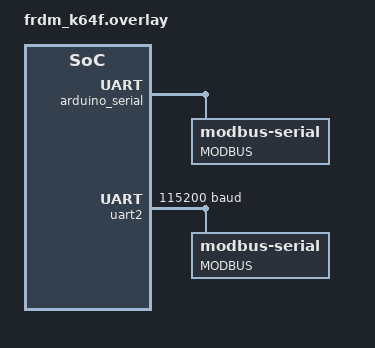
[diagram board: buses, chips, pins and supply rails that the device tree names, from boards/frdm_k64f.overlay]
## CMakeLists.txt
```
# Copyright (c) 2020 PHYTEC Messtechnik GmbH
# SPDX-License-Identifier: Apache-2.0

cmake_minimum_required(VERSION 3.13.1)

find_package(Zephyr REQUIRED HINTS $ENV{ZEPHYR_BASE})
project(test_modbus_rtu)

target_sources(app PRIVATE
    src/main.c
    src/test_modbus_client.c
    src/test_modbus_server.c
    )
```

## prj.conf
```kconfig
# Copyright (c) 2020 PHYTEC Messtechnik GmbH
# SPDX-License-Identifier: Apache-2.0

CONFIG_LOG=y
CONFIG_ZTEST=y
CONFIG_SERIAL=y
CONFIG_UART_INTERRUPT_DRIVEN=y
CONFIG_UART_LINE_CTRL=n

CONFIG_MODBUS_RTU=y
```

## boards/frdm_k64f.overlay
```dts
/*
 * Copyright (c) 2020 Phytec Messtechnik GmbH
 *
 * SPDX-License-Identifier: Apache-2.0
 */

&arduino_serial {
	status = "okay";

	modbus0 {
		compatible = "zephyr,modbus-serial";
		label = "MODBUS";
		status = "okay";
	};
};

&uart2 {
	status = "okay";
	current-speed = <115200>;

	modbus1 {
		compatible = "zephyr,modbus-serial";
		label = "MODBUS";
		status = "okay";
	};
};
```

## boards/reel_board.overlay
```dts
/*
 * Copyright (c) 2020 Phytec Messtechnik GmbH
 *
 * SPDX-License-Identifier: Apache-2.0
 */

&arduino_serial {
	status = "okay";

	modbus0 {
		compatible = "zephyr,modbus-serial";
		label = "MODBUS";
		status = "okay";
	};
};
```

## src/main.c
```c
/*
 * Copyright (c) 2020 PHYTEC Messtechnik GmbH
 *
 * SPDX-License-Identifier: Apache-2.0
 */

#include "test_modbus.h"

void test_main(void)
{
	ztest_test_suite(modbus_client_test,
			 ztest_unit_test(test_server_rtu_setup_low_none),
			 ztest_unit_test(test_client_rtu_setup_low_none),
			 ztest_unit_test(test_rtu_coil_wr_rd),
			 ztest_unit_test(test_rtu_di_rd),
			 ztest_unit_test(test_rtu_input_reg),
			 ztest_unit_test(test_rtu_holding_reg),
			 ztest_unit_test(test_rtu_diagnostic),
			 ztest_unit_test(test_client_rtu_disable),
			 ztest_unit_test(test_server_rtu_disable),
			 ztest_unit_test(test_server_rtu_setup_low_odd),
			 ztest_unit_test(test_client_rtu_setup_low_odd),
			 ztest_unit_test(test_rtu_coil_wr_rd),
			 ztest_unit_test(test_rtu_di_rd),
			 ztest_unit_test(test_rtu_input_reg),
			 ztest_unit_test(test_rtu_holding_reg),
			 ztest_unit_test(test_rtu_diagnostic),
			 ztest_unit_test(test_client_rtu_disable),
			 ztest_unit_test(test_server_rtu_disable),
			 ztest_unit_test(test_server_rtu_setup_high_even),
			 ztest_unit_test(test_client_rtu_setup_high_even),
			 ztest_unit_test(test_rtu_coil_wr_rd),
			 ztest_unit_test(test_rtu_di_rd),
			 ztest_unit_test(test_rtu_input_reg),
			 ztest_unit_test(test_rtu_holding_reg),
			 ztest_unit_test(test_rtu_diagnostic),
			 ztest_unit_test(test_client_rtu_disable),
			 ztest_unit_test(test_server_rtu_disable)
			 );
	ztest_run_test_suite(modbus_client_test);
}
```

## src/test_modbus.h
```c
/*
 * Copyright (c) 2020 PHYTEC Messtechnik GmbH
 *
 * SPDX-License-Identifier: Apache-2.0
 */

#ifndef __TEST_MODBUS_H__
#define __TEST_MODBUS_H__

#include <drivers/uart.h>
#include <ztest.h>
#include <modbus/modbus_rtu.h>

#define MB_TEST_BAUDRATE_LOW	9600
#define MB_TEST_BAUDRATE_HIGH	115200
#define MB_TEST_PARITY		UART_CFG_PARITY_NONE
#define MB_TEST_RESPONSE_TO	50000
#define MB_TEST_NODE_ADDR	0x01
#define MB_TEST_FP_OFFSET	5000

#if defined(CONFIG_BOARD_FRDM_K64F)
/*
 * UART1(PTB16)-RX <-> UART2(PTD3)-TX pins and
 * UART1(PTB17)-TX <-> UART2(PTD2)-RX pins have to be connected.
 */
#define MB_TEST_IFACE_CLIENT		0
#define MB_TEST_IFACE_SERVER		1
#else
#define MB_TEST_IFACE_CLIENT		0
#define MB_TEST_IFACE_SERVER		0
#endif

void test_server_rtu_setup_low_none(void);
void test_server_rtu_setup_low_odd(void);
void test_server_rtu_setup_high_even(void);
void test_server_rtu_setup_ascii(void);
void test_server_rtu_disable(void);

void test_client_rtu_setup_low_none(void);
void test_client_rtu_setup_low_odd(void);
void test_client_rtu_setup_high_even(void);
void test_client_rtu_setup_ascii(void);
void test_rtu_coil_wr_rd(void);
void test_rtu_di_rd(void);
void test_rtu_input_reg(void);
void test_rtu_holding_reg(void);
void test_rtu_diagnostic(void);
void test_client_rtu_disable(void);

#endif /* __TEST_MODBUS_H__ */
```

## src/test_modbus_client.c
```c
/*
 * Copyright (c) 2020 PHYTEC Messtechnik GmbH
 *
 * SPDX-License-Identifier: Apache-2.0
 */

#include "test_modbus.h"

#include <logging/log.h>
LOG_MODULE_REGISTER(mbc_test, LOG_LEVEL_INF);

#ifdef CONFIG_MODBUS_CLIENT
const static uint16_t fp_offset = MB_TEST_FP_OFFSET;
const static uint8_t iface = MB_TEST_IFACE_CLIENT;
const static uint8_t node = MB_TEST_NODE_ADDR;
const static uint16_t offset_oor = 32;
const static uint16_t fp_offset_oor = fp_offset + offset_oor;

void test_rtu_coil_wr_rd(void)
{
	const uint8_t coil_qty = 16;
	uint8_t coil[3] = {0};
	int err;

	for (uint16_t idx = 0; idx < coil_qty; idx++) {
		err = modbus_write_coil(iface, node, idx, true);
		zassert_equal(err, 0, "FC05 request failed");
	}

	err = modbus_read_coils(iface, node, 0, coil, coil_qty);
	zassert_equal(err, 0, "FC01 request failed");

	zassert_equal(coil[0], 0xff, "FC05 verify coil 0-7 failed");
	zassert_equal(coil[1], 0xff, "FC05 verify coil 8-15 failed");

	for (uint16_t numof = 1; numof <= coil_qty; numof++) {
		err = modbus_write_coils(iface, node, 0, coil, numof);
		zassert_equal(err, 0, "FC15 request failed");
	}

	coil[0] = 0xaa; coil[1] = 0xbb;
	err = modbus_write_coils(iface, node, 0, coil, coil_qty);
	zassert_equal(err, 0, "FC15 request failed");

	err = modbus_read_coils(iface, node, 0, coil, coil_qty);
	zassert_equal(err, 0, "FC01 request failed");

	zassert_equal(coil[0], 0xaa, "FC15 verify coil 0-7 failed");
	zassert_equal(coil[1], 0xbb, "FC15 verify coil 8-15 failed");

	err = modbus_write_coil(iface, node, offset_oor, true);
	zassert_not_equal(err, 0, "FC05 out of range request not failed");

	err = modbus_write_coils(iface, node, offset_oor, coil, coil_qty);
	zassert_not_equal(err, 0, "FC15 out of range request not failed");
}

void test_rtu_di_rd(void)
{
	const uint8_t di_qty = 16;
	uint8_t di[4] = {0};
	int err;

	err = modbus_read_dinputs(iface, node, 0, di, di_qty);
	zassert_equal(err, 0, "FC02 request failed");

	zassert_equal(di[0], 0xaa, "FC02 verify di 0-7 failed");
	zassert_equal(di[1], 0xbb, "FC02 verify di 8-15 failed");

	err = modbus_read_dinputs(iface, node, 0, di, di_qty + 1);
	zassert_not_equal(err, 0, "FC02 out of range request not failed");

	err = modbus_read_dinputs(iface, node, offset_oor, di, di_qty);
	zassert_not_equal(err, 0, "FC02 out of range request not failed");
}

void test_rtu_input_reg(void)
{
	uint16_t ir[8] = {0};
	int err;

	err = modbus_write_holding_reg(iface, node, 0, 0xcafe);
	zassert_equal(err, 0, "FC06 write request for FC04 failed");

	err = modbus_read_input_regs(iface, node, 0, ir, ARRAY_SIZE(ir));
	zassert_equal(err, 0, "FC04 request failed");

	zassert_equal(ir[0], 0xcafe, "FC04 verify failed");

	err = modbus_read_input_regs(iface,
				     node,
				     offset_oor,
				     ir,
				     ARRAY_SIZE(ir));
	zassert_not_equal(err, 0, "FC04 out of range request not failed");
}

void test_rtu_holding_reg(void)
{
	uint16_t hr_wr[8] = {0, 2, 1, 3, 5, 4, 7, 6};
	uint16_t hr_rd[8] = {0};
	float fhr_wr[4] = {48.56470489501953125, 0.3, 0.2, 0.1};
	float fhr_rd[4] = {0.0};
	int err;

	/* Test FC06 | FC03 */
	for (uint16_t idx = 0; idx < ARRAY_SIZE(hr_wr); idx++) {
		err = modbus_write_holding_reg(iface, node, idx, hr_wr[idx]);
		zassert_equal(err, 0, "FC06 write request failed");
	}

	err = modbus_write_holding_reg(iface, node, offset_oor, 0xcafe);
	zassert_not_equal(err, 0, "FC06 out of range request not failed");

	err = modbus_read_holding_regs(iface, node, 0,
				       hr_rd, ARRAY_SIZE(hr_rd));
	zassert_equal(err, 0, "FC03 read request failed");

	LOG_HEXDUMP_DBG(hr_rd, sizeof(hr_rd), "FC06, hr_rd");
	zassert_equal(memcmp(hr_wr, hr_rd, sizeof(hr_wr)), 0,
		      "FC06 verify failed");

	err = modbus_read_holding_regs(iface,
				       node,
				       offset_oor,
				       hr_rd,
				       ARRAY_SIZE(hr_rd));
	zassert_not_equal(err, 0, "FC03 out of range request not failed");

	/* Test FC16 | FC03 */
	err = modbus_write_holding_regs(iface, node, 0,
					hr_wr, ARRAY_SIZE(hr_wr));
	zassert_equal(err, 0, "FC16 write request failed");

	err = modbus_read_holding_regs(iface, node, 0,
				       hr_rd, ARRAY_SIZE(hr_rd));
	zassert_equal(err, 0, "FC03 read request failed");

	LOG_HEXDUMP_DBG(hr_rd, sizeof(hr_rd), "FC16, hr_rd");
	zassert_equal(memcmp(hr_wr, hr_rd, sizeof(hr_wr)), 0,
		      "FC16 verify failed");

	/* Test FC16 | FC03 */
	for (uint16_t idx = 0; idx < ARRAY_SIZE(fhr_wr); idx++) {
		err = modbus_write_holding_regs_fp(iface,
						 node,
						 fp_offset + idx,
						 &fhr_wr[0], 1);
		zassert_equal(err, 0, "FC16 write request failed");
	}

	err = modbus_write_holding_regs_fp(iface,
					   node,
					   fp_offset,
					   fhr_wr,
					   ARRAY_SIZE(fhr_wr));
	zassert_equal(err, 0, "FC16 FP request failed");

	err = modbus_write_holding_regs_fp(iface,
					   node,
					   fp_offset_oor,
					   fhr_wr,
					   ARRAY_SIZE(fhr_wr));
	zassert_not_equal(err, 0, "FC16 FP out of range request not failed");

	err = modbus_read_holding_regs_fp(iface,
					  node,
					  fp_offset_oor,
					  fhr_wr,
					  ARRAY_SIZE(fhr_wr));
	zassert_not_equal(err, 0, "FC16 FP out of range request not failed");

	err = modbus_read_holding_regs_fp(iface,
					  node,
					  fp_offset,
					  fhr_rd,
					  ARRAY_SIZE(fhr_rd));
	zassert_equal(err, 0, "FC03 read request failed");

	LOG_HEXDUMP_DBG(fhr_rd, sizeof(fhr_rd), "FC16FP, fhr_rd");
	zassert_equal(memcmp(fhr_wr, fhr_rd, sizeof(fhr_wr)), 0,
		      "FC16FP verify failed");
}

void test_rtu_diagnostic(void)
{
	uint16_t data = 0xcafe;
	int err;

	for (uint16_t sf = 0x0A; sf < 0x0F; sf++) {
		err = modbus_request_diagnostic(iface, node, sf, 0, &data);
		zassert_equal(err, 0, "FC08:0x%04x request failed", sf);
	}

	err = modbus_request_diagnostic(iface, node, 0xFF, 0, &data);
	zassert_not_equal(err, 0, "FC08 not supported request not failed");
}

void test_client_rtu_setup_low_none(void)
{
	int err;

	err = modbus_init_client(iface, MB_TEST_BAUDRATE_LOW,
				 UART_CFG_PARITY_NONE,
				 MB_TEST_RESPONSE_TO, false);
	zassert_equal(err, 0, "Failed to configure RTU client");
}

void test_client_rtu_setup_low_odd(void)
{
	int err;

	err = modbus_init_client(iface, MB_TEST_BAUDRATE_LOW,
				 UART_CFG_PARITY_ODD,
				 MB_TEST_RESPONSE_TO, false);
	zassert_equal(err, 0, "Failed to configure RTU client");
}

void test_client_rtu_setup_high_even(void)
{
	int err;

	err = modbus_init_client(iface, MB_TEST_BAUDRATE_HIGH,
				 UART_CFG_PARITY_EVEN,
				 MB_TEST_RESPONSE_TO, false);
	zassert_equal(err, 0, "Failed to configure RTU client");
}

void test_client_rtu_setup_ascii(void)
{
	int err;

	err = modbus_init_client(iface, MB_TEST_BAUDRATE_HIGH,
				 UART_CFG_PARITY_EVEN,
				 MB_TEST_RESPONSE_TO, true);
	zassert_equal(err, 0, "Failed to configure RTU client");
}

void test_client_rtu_disable(void)
{
	int err;

	err = modbus_disable(iface);
	zassert_equal(err, 0, "Failed to disable RTU client");
}

#else

void test_client_rtu_setup_low_none(void)
{
	ztest_test_skip();
}

void test_client_rtu_setup_low_odd(void)
{
	ztest_test_skip();
}

void test_client_rtu_setup_high_even(void)
{
	ztest_test_skip();
}

void test_client_rtu_setup_ascii(void)
{
	ztest_test_skip();
}

void test_rtu_coil_wr_rd(void)
{
	ztest_test_skip();
}

void test_rtu_di_rd(void)
{
	ztest_test_skip();
}

void test_rtu_input_reg(void)
{
	ztest_test_skip();
}

void test_rtu_holding_reg(void)
{
	ztest_test_skip();
}

void test_rtu_diagnostic(void)
{
	ztest_test_skip();
}

void test_client_rtu_disable(void)
{
	ztest_test_skip();
}
#endif
```

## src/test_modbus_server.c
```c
/*
 * Copyright (c) 2020 PHYTEC Messtechnik GmbH
 *
 * SPDX-License-Identifier: Apache-2.0
 */

#include "test_modbus.h"

#include <logging/log.h>
LOG_MODULE_REGISTER(mbs_test, LOG_LEVEL_INF);

const static uint16_t fp_offset = MB_TEST_FP_OFFSET;
static uint16_t test_coils;
static uint16_t test_holding_reg[8];
static float test_holding_fp[4];

static int coil_rd(uint16_t addr, bool *state)
{
	if (addr >= (sizeof(test_coils) * 8)) {
		return -ENOTSUP;
	}

	if (test_coils & BIT(addr)) {
		*state = true;
	} else {
		*state = false;
	}

	LOG_DBG("Coil read, addr %u, %d", addr, (int)*state);

	return 0;
}

static int coil_wr(uint16_t addr, bool state)
{
	if (addr >= (sizeof(test_coils) * 8)) {
		return -ENOTSUP;
	}

	if (state == true) {
		test_coils |= BIT(addr);
	} else {
		test_coils &= ~BIT(addr);
	}

	LOG_DBG("Coil write, addr %u, %d", addr, (int)state);

	return 0;
}

static int discrete_input_rd(uint16_t addr, bool *state)
{
	if (addr >= (sizeof(test_coils) * 8)) {
		return -ENOTSUP;
	}

	if (test_coils & BIT(addr)) {
		*state = true;
	} else {
		*state = false;
	}

	LOG_DBG("Discrete input read, addr %u, %d", addr, (int)*state);

	return 0;
}

static int input_reg_rd(uint16_t addr, uint16_t *reg)
{
	if (addr >= ARRAY_SIZE(test_holding_reg)) {
		return -ENOTSUP;
	}

	*reg = test_holding_reg[addr];

	LOG_DBG("Input register read, addr %u, 0x%04x", addr, *reg);

	return 0;
}

static int input_reg_rd_fp(uint16_t addr, float *reg)
{
	if ((addr < fp_offset) ||
	    (addr >= (ARRAY_SIZE(test_holding_fp) + fp_offset))) {
		return -ENOTSUP;
	}

	*reg = test_holding_fp[addr - fp_offset];

	LOG_DBG("FP input register read, addr %u", addr);

	return 0;
}

static int holding_reg_rd(uint16_t addr, uint16_t *reg)
{
	if (addr >= ARRAY_SIZE(test_holding_reg)) {
		return -ENOTSUP;
	}

	*reg = test_holding_reg[addr];

	LOG_DBG("Holding register read, addr %u", addr);

	return 0;
}

static int holding_reg_wr(uint16_t addr, uint16_t reg)
{
	if (addr >= ARRAY_SIZE(test_holding_reg)) {
		return -ENOTSUP;
	}

	test_holding_reg[addr] = reg;

	LOG_DBG("Holding register write, addr %u", addr);

	return 0;
}

static int holding_reg_rd_fp(uint16_t addr, float *reg)
{
	if ((addr < fp_offset) ||
	    (addr >= (ARRAY_SIZE(test_holding_fp) + fp_offset))) {
		return -ENOTSUP;
	}

	*reg = test_holding_fp[addr - fp_offset];

	LOG_DBG("FP holding register read, addr %u", addr);

	return 0;
}

static int holding_reg_wr_fp(uint16_t addr, float reg)
{
	if ((addr < fp_offset) ||
	    (addr >= (ARRAY_SIZE(test_holding_fp) + fp_offset))) {
		return -ENOTSUP;
	}

	test_holding_fp[addr - fp_offset] = reg;

	LOG_DBG("FP holding register write, addr %u", addr);

	return 0;
}

static struct modbus_user_callbacks mbs_cbs = {
	/** Coil read/write callback */
	.coil_rd = coil_rd,
	.coil_wr = coil_wr,
	/* Discrete Input read callback */
	.discrete_input_rd = discrete_input_rd,
	/* Input Register read callback */
	.input_reg_rd = input_reg_rd,
	/* Floating Point Input Register read callback */
	.input_reg_rd_fp = input_reg_rd_fp,
	/* Holding Register read/write callback */
	.holding_reg_rd = holding_reg_rd,
	.holding_reg_wr = holding_reg_wr,
	/* Floating Point Holding Register read/write callback */
	.holding_reg_rd_fp = holding_reg_rd_fp,
	.holding_reg_wr_fp = holding_reg_wr_fp,
};

void test_server_rtu_setup_low_odd(void)
{
	int err;

	if (IS_ENABLED(CONFIG_MODBUS_SERVER)) {
		err = modbus_init_server(MB_TEST_IFACE_SERVER, MB_TEST_NODE_ADDR,
					 MB_TEST_BAUDRATE_LOW,
					 UART_CFG_PARITY_ODD,
					 &mbs_cbs, false);
		zassert_equal(err, 0, "Failed to configure RTU server");
	} else {
		ztest_test_skip();
	}
}

void test_server_rtu_setup_low_none(void)
{
	int err;

	if (IS_ENABLED(CONFIG_MODBUS_SERVER)) {
		err = modbus_init_server(MB_TEST_IFACE_SERVER, MB_TEST_NODE_ADDR,
					 MB_TEST_BAUDRATE_LOW,
					 UART_CFG_PARITY_NONE,
					 &mbs_cbs, false);
		zassert_equal(err, 0, "Failed to configure RTU server");
	} else {
		ztest_test_skip();
	}
}

void test_server_rtu_setup_high_even(void)
{
	int err;

	if (IS_ENABLED(CONFIG_MODBUS_SERVER)) {
		err = modbus_init_server(MB_TEST_IFACE_SERVER, MB_TEST_NODE_ADDR,
					 MB_TEST_BAUDRATE_HIGH,
					 UART_CFG_PARITY_EVEN,
					 &mbs_cbs, false);
		zassert_equal(err, 0, "Failed to configure RTU server");
	} else {
		ztest_test_skip();
	}
}

void test_server_rtu_setup_ascii(void)
{
	int err;

	if (IS_ENABLED(CONFIG_MODBUS_SERVER)) {
		err = modbus_init_server(MB_TEST_IFACE_SERVER, MB_TEST_NODE_ADDR,
					 MB_TEST_BAUDRATE_HIGH,
					 UART_CFG_PARITY_EVEN,
					 &mbs_cbs, true);
		zassert_equal(err, 0, "Failed to configure RTU server");
	} else {
		ztest_test_skip();
	}
}

void test_server_rtu_disable(void)
{
	int err;

	if (IS_ENABLED(CONFIG_MODBUS_SERVER)) {
		err = modbus_disable(MB_TEST_IFACE_SERVER);
		zassert_equal(err, 0, "Failed to disable RTU server");
	} else {
		ztest_test_skip();
	}
}
```
